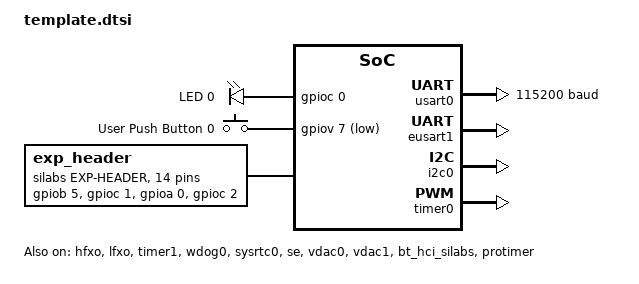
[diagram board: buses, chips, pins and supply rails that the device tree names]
#include <silabs/xg24/clock-hfrcodpll.dtsi>
#include <silabs/xg24/clock-lfxo.dtsi>
#include <zephyr/dt-bindings/input/input-event-codes.h>
#include <zephyr/dt-bindings/pwm/pwm.h>
#include <zephyr/dt-bindings/regulator/silabs_dcdc.h>

#include "template-pinctrl.dtsi"

/ {
	chosen {
		zephyr,bt-hci = &bt_hci_silabs;
		zephyr,code-partition = &slot0_partition;
		zephyr,console = &usart0;
		zephyr,flash = &flash0;
		zephyr,shell-uart = &usart0;
		zephyr,sram = &sram0;
		zephyr,uart-pipe = &usart0;
		zephyr,openthread-counter = &protimer;
	};

	/* These aliases are provided for compatibility with samples */
	aliases {
		led0 = &led0;
		sw0 = &button0;
		watchdog0 = &wdog0;
	};

	leds {
		compatible = "gpio-leds";

		led0: led_0 {
			gpios = <&gpioc 0 GPIO_ACTIVE_HIGH>;
			label = "LED 0";
		};

	};

	buttons {
		compatible = "gpio-keys";

		button0: button_0 {
			gpios = <&gpiov 7 GPIO_ACTIVE_LOW>;
			label = "User Push Button 0";
			zephyr,code = <INPUT_KEY_0>;
		};

	};


	exp_header: exp-header {
		compatible = "silabs,exp-header";
		#gpio-cells = <2>;
		gpio-map = <3 0 &gpiob 5 0>,
			   <4 0 &gpioc 1 0>,
			   <5 0 &gpioa 0 0>,
			   <6 0 &gpioc 2 0>,
			   <7 0 &gpioa 5 0>,
			   <8 0 &gpioc 3 0>,
			   <9 0 &gpiod 2 0>,
			   <10 0 &gpioc 0 0>,
			   <11 0 &gpioa 6 0>,
			   <12 0 &gpioa 8 0>,
			   <13 0 &gpioa 7 0>,
			   <14 0 &gpioa 9 0>,
			   <15 0 &gpioc 5 0>,
			   <16 0 &gpioc 7 0>;
		gpio-map-mask = <0xffffffff 0x0>;
		gpio-map-pass-thru = <0x0 GPIO_DT_FLAGS_MASK>;
	};
};

&itm {
	pinctrl-0 = <&itm_default>;
	pinctrl-names = "default";
};

&hfxo {
	ctune = <95>;
	precision = <50>;
	status = "okay";
};

&lfxo {
	ctune = <44>;
	precision = <50>;
	status = "okay";
};

&usart0 {
	current-speed = <115200>;
	pinctrl-0 = <&usart0_default>;
	pinctrl-names = "default";
	status = "okay";
};

&eusart1 {
	compatible = "silabs,eusart-spi";
	#address-cells = <1>;
	#size-cells = <0>;
	clock-frequency = <DT_FREQ_M(10)>;
	pinctrl-0 = <&eusart1_default>;
	pinctrl-names = "default";
	status = "okay";

};

&i2c0 {
	pinctrl-0 = <&i2c0_default>;
	pinctrl-names = "default";
	status = "okay";
};

&timer0 {
	status = "okay";

	timer0_pwm: pwm {
		pinctrl-0 = <&timer0_default>;
		pinctrl-names = "default";
		status = "okay";
	};
};

&timer1 {
	status = "okay";

	timer1_counter: counter {
		status = "okay";
	};
};

&gpio {
	status = "okay";
};

&gpioa {
	status = "okay";
};

&gpiob {
	status = "okay";
};

&gpioc {
	status = "okay";
};

&gpiod {
	status = "okay";
};

&wdog0 {
	status = "okay";
};

&sysrtc0 {
	status = "okay";
};

&se {
	status = "okay";
};

&dcdc {
	regulator-boot-on;
	regulator-initial-mode = <SILABS_DCDC_MODE_BUCK>;
	silabs,pfmx-peak-current-milliamp = <100>;
	status = "okay";
};

&flash0 {
	partitions {
		compatible = "fixed-partitions";
		#address-cells = <1>;
		#size-cells = <1>;

		/* Reserve 48 kB for the bootloader */
		boot_partition: partition@0 {
			reg = <0x0 DT_SIZE_K(48)>;
			label = "mcuboot";
			read-only;
		};

		/* Reserve 728 kB for the application in slot 0 */
		slot0_partition: partition@c000 {
			reg = <0x0000c000 DT_SIZE_K(728)>;
			label = "image-0";
		};

		/* Reserve 728 kB for the application in slot 1 */
		slot1_partition: partition@c2000 {
			reg = <0x000c2000 DT_SIZE_K(728)>;
			label = "image-1";
		};

		/* Set 32 kB of storage at the end of the 1536 kB of flash */
		storage_partition: partition@178000 {
			reg = <0x00178000 DT_SIZE_K(32)>;
			label = "storage";
		};
	};
};

&vdac0 {
	status = "okay";
};

&vdac1 {
	status = "okay";
};

&bt_hci_silabs {
	status = "okay";
};

&protimer {
	status = "okay";
};
